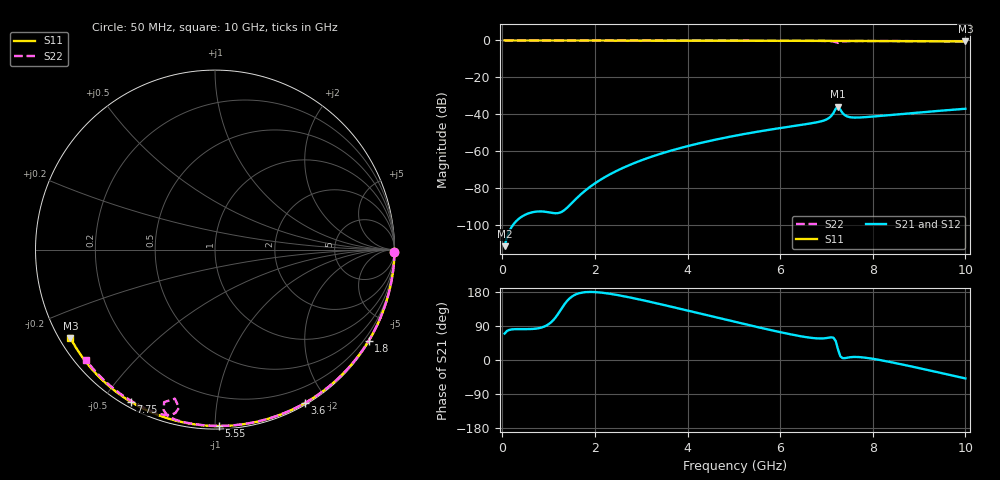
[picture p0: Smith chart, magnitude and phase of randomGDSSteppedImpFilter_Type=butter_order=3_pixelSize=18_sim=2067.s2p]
! freq	dB(S11)	phase(S11)	dB(S12)	phase(S12)
!  dB(S21)	phase(S21)	dB(S22)	phase(S22)
!S-par simulation data
#  GHz  S  DB  R 50
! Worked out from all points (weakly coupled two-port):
!   200 points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, 50 MHz to 10 GHz, reference 50 ohm
!   highest |S21| = -35.86 dB at 7.25 GHz (marker M1); lowest = -111.4 dB at 50 MHz (marker M2)
!   lowest |S11| = -0.5 dB at 10 GHz (marker M3), VSWR 34.74, Z = 1.55 - j14.1 ohm
!   |S11| at or under -10 dB: nowhere
!   |S22| runs from -1.3 to 0.0 dB; largest |S21 - S12| = 0
!   S11 on the Smith chart (normalised r, x): 50 MHz: open; 1.8 GHz: 0.03, -3.66; 3.6 GHz: 0.02, -1.75; 5.55 GHz: 0.02, -1.02; 7.75 GHz: 0.02, -0.59; 10 GHz: 0.03, -0.28
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0.05  -0.00 -0.9  -111.37 69.6  -111.37 69.6  -0.00 -0.8
0.9  -0.02 -15.5  -92.66 88.0  -92.66 88.0  -0.02 -14.5
1.75  -0.04 -29.8  -82.13 178.4  -82.13 178.4  -0.04 -27.8
1.8  -0.04 -30.6  -81.09 179.1  -81.09 179.1  -0.04 -28.6
1.85  -0.04 -31.4  -80.10 179.5  -80.10 179.5  -0.04 -29.4
2.2  -0.05 -37.2  -74.21 176.9  -74.21 176.9  -0.04 -34.8
2.6  -0.06 -43.7  -69.05 168.8  -69.05 168.8  -0.05 -40.9
3.4  -0.08 -56.5  -61.48 147.7  -61.48 147.7  -0.07 -52.9
3.6  -0.08 -59.6  -59.96 142.0  -59.96 142.0  -0.08 -55.9
5.05  -0.13 -81.5  -51.46 100.0  -51.46 100.0  -0.12 -76.6
5.55  -0.15 -88.7  -49.24 85.8  -49.24 85.8  -0.14 -83.5
6.7  -0.21 -104.8  -44.74 58.0  -44.74 58.0  -0.20 -99.2
6.9  -0.22 -107.5  -43.67 56.8  -43.67 56.8  -0.23 -102.3
7.05  -0.23 -109.5  -42.06 58.9  -42.06 58.9  -0.30 -105.1
7.15  -0.24 -110.9  -39.30 58.9  -39.30 58.9  -0.54 -107.7
7.2  -0.24 -111.5  -36.99 50.2  -36.99 50.2  -0.95 -108.4
7.25  -0.24 -112.2  -35.86 27.7  -35.86 27.7  -1.31 -105.1
7.35  -0.24 -113.6  -39.39 4.8  -39.39 4.8  -0.56 -103.7
7.45  -0.25 -114.9  -41.17 6.2  -41.17 6.2  -0.36 -105.9
7.75  -0.27 -118.9  -41.66 7.3  -41.66 7.3  -0.29 -110.8
8.35  -0.32 -126.9  -40.43 -4.7  -40.43 -4.7  -0.32 -118.7
10  -0.50 -148.5  -36.98 -48.7  -36.98 -48.7  -0.48 -139.3
